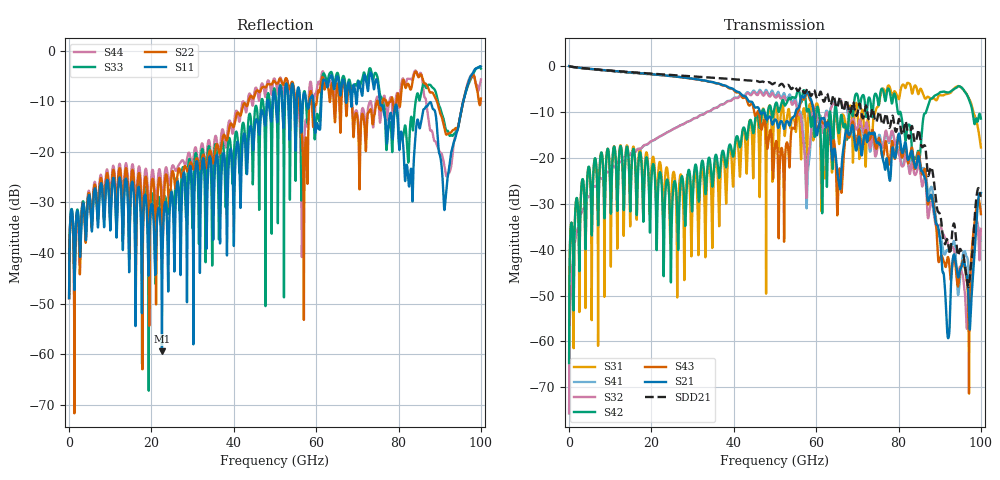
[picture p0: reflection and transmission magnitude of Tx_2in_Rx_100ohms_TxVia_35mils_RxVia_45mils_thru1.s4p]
! Info: Touchstone file created by Circ.  Input file=Tx_2in_Rx_100ohms_TxVia_35mils_RxVia_45mils.circ
# Hz S RI R 50
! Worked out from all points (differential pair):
!   10000 points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, 10 MHz to 100 GHz, reference 50 ohm
!   strongest paths, dB at 10 MHz, 25.01 GHz, 50.01 GHz, 75.01 GHz, 100 GHz:
!     S21: 0.0, -2.2, -11.7, -16.7, -27.7
!     S43: 0.0, -2.2, -17.4, -16.5, -32.3
!     S42: -64.7, -31.5, -8.6, -7.9, -11.5
!     S32: -75.7, -13.9, -6.8, -17.0, -35.5
!     S41: -75.7, -13.9, -6.5, -16.4, -37.9
!     S31: -64.7, -25.4, -9.2, -8.9, -17.7
!   taken as a pair (ports 1,3 in; 2,4 out), SDD21 dB: 0.0, -2.0, -3.7, -10.7, -28.5
!   lowest |S11| = -59.4 dB at 22.55 GHz (marker M1), VSWR 1.00, Z = 50.1 + j0.0507 ohm
!   |S11| at or under -10 dB: start of sweep to 48.11 GHz; 59.32 GHz to 61.26 GHz (1.942 GHz wide, 3.22 % of centre); 75.48 GHz to 95.75 GHz (20.28 GHz wide, 23.7 % of centre) (the widest 3 of 13)
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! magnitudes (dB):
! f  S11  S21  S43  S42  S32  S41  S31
! 10 MHz  -48.9  0.0  0.0  -64.7  -75.7  -75.7  -64.7
! 4.26 GHz  -34.9  -0.5  -0.5  -27.8  -29.0  -29.0  -28.0
! 22.55 GHz  -59.4  -2.0  -2.0  -26.7  -15.1  -15.1  -25.4
! 51.28 GHz  -7.1  -12.2  -19.6  -9.0  -7.0  -6.7  -11.9
! 80.16 GHz  -19.5  -14.8  -15.5  -10.4  -19.4  -17.7  -7.1
! 92.03 GHz  -24.5  -59.3  -41.6  -5.8  -38.9  -40.3  -6.0
! 100 GHz  -3.1  -27.7  -32.3  -11.5  -35.5  -37.9  -17.7
